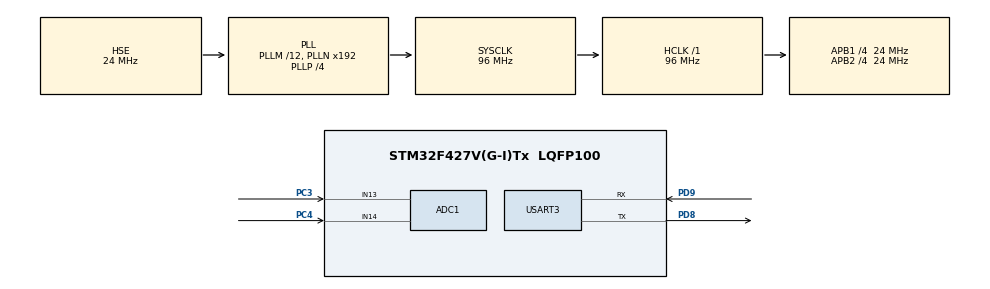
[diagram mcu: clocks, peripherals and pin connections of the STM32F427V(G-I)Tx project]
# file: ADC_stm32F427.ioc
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ADC1.Channel-3\#ChannelRegularConversion=ADC_CHANNEL_13
ADC1.Channel-4\#ChannelInjectedConversion=ADC_CHANNEL_13
ADC1.ContinuousConvMode=ENABLE
ADC1.InjNumberOfConversion=1
ADC1.InjectedOffset-4\#ChannelInjectedConversion=0
ADC1.InjectedRank-4\#ChannelInjectedConversion=1
ADC1.NbrOfConversionFlag=1
ADC1.Rank-3\#ChannelRegularConversion=1
ADC1.SamplingTime-3\#ChannelRegularConversion=ADC_SAMPLETIME_3CYCLES
ADC1.SamplingTime-4\#ChannelInjectedConversion=ADC_SAMPLETIME_3CYCLES
ADC1.master=1
Mcu.Family=STM32F4
Mcu.Name=STM32F427V(G-I)Tx
Mcu.Package=LQFP100
NVIC.ADC_IRQn=true\:0\:0\:true\:false\:true\:true\:true
NVIC.PriorityGroup=NVIC_PRIORITYGROUP_4
NVIC.USART3_IRQn=true\:1\:0\:true\:false\:true\:true\:true
PA13.Mode=Serial_Wire
PA13.Signal=SYS_JTMS-SWDIO
PA14.Mode=Serial_Wire
PA14.Signal=SYS_JTCK-SWCLK
PC3.Signal=ADCx_IN13
PC4.Signal=ADCx_IN14
PD11.Signal=USART3_CTS
PD12.Signal=USART3_RTS
PD8.Mode=Asynchronous
PD8.Signal=USART3_TX
PD9.Mode=Asynchronous
PD9.Signal=USART3_RX
PH0/OSC_IN.Mode=HSE-External-Oscillator
PH0/OSC_IN.Signal=RCC_OSC_IN
PH1/OSC_OUT.Mode=HSE-External-Oscillator
PH1/OSC_OUT.Signal=RCC_OSC_OUT
ProjectManager.HeapSize=0x200
ProjectManager.StackSize=0x400
ProjectManager.TargetToolchain=STM32CubeIDE
RCC.48MHZClocksFreq_Value=96000000
RCC.AHBFreq_Value=96000000
RCC.APB1CLKDivider=RCC_HCLK_DIV4
RCC.APB1Freq_Value=24000000
RCC.APB1TimFreq_Value=48000000
RCC.APB2CLKDivider=RCC_HCLK_DIV4
RCC.APB2Freq_Value=24000000
RCC.APB2TimFreq_Value=48000000
RCC.CortexFreq_Value=96000000
RCC.HCLKFreq_Value=96000000
RCC.HSE_VALUE=24000000
RCC.HSI_VALUE=16000000
RCC.LSE_VALUE=32768
RCC.PLLM=12
RCC.PLLP=RCC_PLLP_DIV4
RCC.PLLSourceVirtual=RCC_PLLSOURCE_HSE
RCC.SYSCLKFreq_VALUE=96000000
RCC.SYSCLKSource=RCC_SYSCLKSOURCE_PLLCLK
RCC.VCOOutputFreq_Value=384000000
SH.ADCx_IN13.0=ADC1_IN13,IN13
SH.ADCx_IN14.0=ADC1_IN14,IN14
USART3.VirtualMode=VM_ASYNC
board=custom

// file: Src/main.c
/* USER CODE BEGIN Header */
/**
  ******************************************************************************
  * @file           : main.c
  * @brief          : Main program body
  ******************************************************************************
  * @attention
  *
  * <h2><center>&copy; Copyright (c) 2020 STMicroelectronics.
  * All rights reserved.</center></h2>
  *
  * This software component is licensed by ST under BSD 3-Clause license,
  * the "License"; You may not use this file except in compliance with the
  * License. You may obtain a copy of the License at:
  *                        opensource.org/licenses/BSD-3-Clause
  *
  ******************************************************************************
  */
/* USER CODE END Header */

#include "main.h"

/* USER CODE BEGIN Includes */
#ifdef __GNUC__
/* With GCC, small printf (option LD Linker->Libraries->Small printf
   set to 'Yes') calls __io_putchar() */
#define PUTCHAR_PROTOTYPE int __io_putchar(int ch)
#else
#define PUTCHAR_PROTOTYPE int fputc(int ch, FILE *f)
#endif /* __GNUC__ */

/* USER CODE END Includes */

ADC_HandleTypeDef hadc1;

UART_HandleTypeDef huart3;

void SystemClock_Config(void);
static void MX_GPIO_Init(void);
static void MX_ADC1_Init(void);
static void MX_USART3_UART_Init(void);
/* USER CODE BEGIN PFP */
uint16_t ADC_Value;
/* USER CODE END PFP */

/* USER CODE BEGIN 0 */
PUTCHAR_PROTOTYPE
{
    HAL_UART_Transmit(&huart3 , (uint8_t *)&ch, 1, 0xFFFF);
    return ch;
}

/* USER CODE END 0 */

int main(void)
{

  /* MCU Configuration--------------------------------------------------------*/

  /* Reset of all peripherals, Initializes the Flash interface and the Systick. */
  HAL_Init();

  /* Configure the system clock */
  SystemClock_Config();

  /* Initialize all configured peripherals */
  MX_GPIO_Init();
  MX_ADC1_Init();
  MX_USART3_UART_Init();

  /* Infinite loop */
  while (1)
  {

    /* USER CODE BEGIN 3 */
	  HAL_ADC_Start(&hadc1);     //启动ADC转换
	  HAL_ADC_PollForConversion(&hadc1, 50);   //等待转换完成，50为最大等待时间，单位为ms
	  float vol=0;
	  if(HAL_IS_BIT_SET(HAL_ADC_GetState(&hadc1), HAL_ADC_STATE_REG_EOC))
	  {
		ADC_Value = HAL_ADC_GetValue(&hadc1);   //获取AD值
		printf("ADC2 Reading : %d \r\n",ADC_Value);
		vol =((float)ADC_Value*3.3)/4096;//计算得到电压值，变量类型为float
		printf("vol : %f \r\n",vol);

		//vol=3.3;
		//uint8_t pData[4]="";
		//sprintf(pData,"%.1f",vol);//将浮点数，转化为字符串，以供串口输出
		//HAL_UART_Transmit(&huart3,(uint8_t*)pData,sizeof(pData),100);//不断通过串口3发送，pData中的数据，sizeof计算pData中的字节数
	  }
	  HAL_Delay(1000);//延时1s的时间，即为每1s进行一次ADC转换
  }
  /* USER CODE END 3 */
}

void SystemClock_Config(void)
{
  RCC_OscInitTypeDef RCC_OscInitStruct = {0};
  RCC_ClkInitTypeDef RCC_ClkInitStruct = {0};

  /** Configure the main internal regulator output voltage
  */
  __HAL_RCC_PWR_CLK_ENABLE();
  __HAL_PWR_VOLTAGESCALING_CONFIG(PWR_REGULATOR_VOLTAGE_SCALE3);
  /** Initializes the CPU, AHB and APB busses clocks
  */
  RCC_OscInitStruct.OscillatorType = RCC_OSCILLATORTYPE_HSE;
  RCC_OscInitStruct.HSEState = RCC_HSE_ON;
  RCC_OscInitStruct.PLL.PLLState = RCC_PLL_ON;
  RCC_OscInitStruct.PLL.PLLSource = RCC_PLLSOURCE_HSE;
  RCC_OscInitStruct.PLL.PLLM = 12;
  RCC_OscInitStruct.PLL.PLLN = 192;
  RCC_OscInitStruct.PLL.PLLP = RCC_PLLP_DIV4;
  RCC_OscInitStruct.PLL.PLLQ = 4;
  if (HAL_RCC_OscConfig(&RCC_OscInitStruct) != HAL_OK)
  {
    Error_Handler();
  }
  /** Initializes the CPU, AHB and APB busses clocks
  */
  RCC_ClkInitStruct.ClockType = RCC_CLOCKTYPE_HCLK|RCC_CLOCKTYPE_SYSCLK
                              |RCC_CLOCKTYPE_PCLK1|RCC_CLOCKTYPE_PCLK2;
  RCC_ClkInitStruct.SYSCLKSource = RCC_SYSCLKSOURCE_PLLCLK;
  RCC_ClkInitStruct.AHBCLKDivider = RCC_SYSCLK_DIV1;
  RCC_ClkInitStruct.APB1CLKDivider = RCC_HCLK_DIV4;
  RCC_ClkInitStruct.APB2CLKDivider = RCC_HCLK_DIV4;

  if (HAL_RCC_ClockConfig(&RCC_ClkInitStruct, FLASH_LATENCY_3) != HAL_OK)
  {
    Error_Handler();
  }
}

static void MX_ADC1_Init(void)
{

  ADC_ChannelConfTypeDef sConfig = {0};
  ADC_InjectionConfTypeDef sConfigInjected = {0};

  /** Configure the global features of the ADC (Clock, Resolution, Data Alignment and number of conversion)
  */
  hadc1.Instance = ADC1;
  hadc1.Init.ClockPrescaler = ADC_CLOCK_SYNC_PCLK_DIV2;
  hadc1.Init.Resolution = ADC_RESOLUTION_12B;
  hadc1.Init.ScanConvMode = DISABLE;
  hadc1.Init.ContinuousConvMode = ENABLE;
  hadc1.Init.DiscontinuousConvMode = DISABLE;
  hadc1.Init.ExternalTrigConvEdge = ADC_EXTERNALTRIGCONVEDGE_NONE;
  hadc1.Init.ExternalTrigConv = ADC_SOFTWARE_START;
  hadc1.Init.DataAlign = ADC_DATAALIGN_RIGHT;
  hadc1.Init.NbrOfConversion = 1;
  hadc1.Init.DMAContinuousRequests = DISABLE;
  hadc1.Init.EOCSelection = ADC_EOC_SINGLE_CONV;
  if (HAL_ADC_Init(&hadc1) != HAL_OK)
  {
    Error_Handler();
  }
  /** Configure for the selected ADC regular channel its corresponding rank in the sequencer and its sample time.
  */
  sConfig.Channel = ADC_CHANNEL_13;
  sConfig.Rank = 1;
  sConfig.SamplingTime = ADC_SAMPLETIME_3CYCLES;
  if (HAL_ADC_ConfigChannel(&hadc1, &sConfig) != HAL_OK)
  {
    Error_Handler();
  }
  /** Configures for the selected ADC injected channel its corresponding rank in the sequencer and its sample time
  */
  sConfigInjected.InjectedChannel = ADC_CHANNEL_13;
  sConfigInjected.InjectedRank = 1;
  sConfigInjected.InjectedNbrOfConversion = 1;
  sConfigInjected.InjectedSamplingTime = ADC_SAMPLETIME_3CYCLES;
  sConfigInjected.ExternalTrigInjecConvEdge = ADC_EXTERNALTRIGINJECCONVEDGE_NONE;
  sConfigInjected.ExternalTrigInjecConv = ADC_INJECTED_SOFTWARE_START;
  sConfigInjected.AutoInjectedConv = DISABLE;
  sConfigInjected.InjectedDiscontinuousConvMode = DISABLE;
  sConfigInjected.InjectedOffset = 0;
  if (HAL_ADCEx_InjectedConfigChannel(&hadc1, &sConfigInjected) != HAL_OK)
  {
    Error_Handler();
  }

}

static void MX_USART3_UART_Init(void)
{

  huart3.Instance = USART3;
  huart3.Init.BaudRate = 115200;
  huart3.Init.WordLength = UART_WORDLENGTH_8B;
  huart3.Init.StopBits = UART_STOPBITS_1;
  huart3.Init.Parity = UART_PARITY_NONE;
  huart3.Init.Mode = UART_MODE_TX_RX;
  huart3.Init.HwFlowCtl = UART_HWCONTROL_NONE;
  huart3.Init.OverSampling = UART_OVERSAMPLING_16;
  if (HAL_UART_Init(&huart3) != HAL_OK)
  {
    Error_Handler();
  }

}

static void MX_GPIO_Init(void)
{

  /* GPIO Ports Clock Enable */
  __HAL_RCC_GPIOH_CLK_ENABLE();
  __HAL_RCC_GPIOC_CLK_ENABLE();
  __HAL_RCC_GPIOD_CLK_ENABLE();
  __HAL_RCC_GPIOA_CLK_ENABLE();

}

void Error_Handler(void)
{
}

/************************ (C) COPYRIGHT STMicroelectronics *****END OF FILE****/
